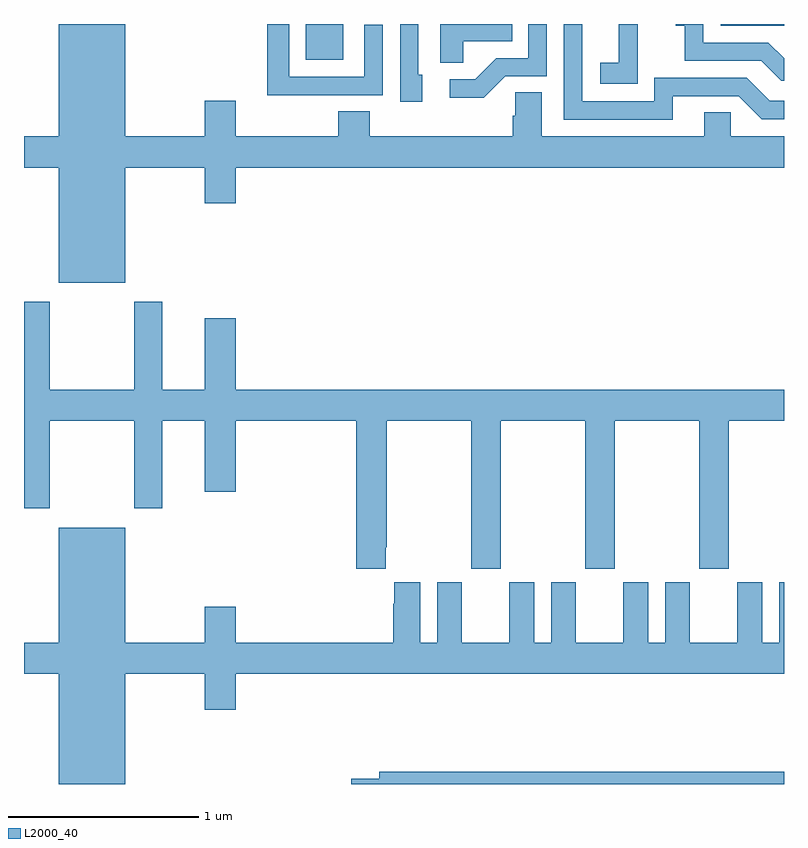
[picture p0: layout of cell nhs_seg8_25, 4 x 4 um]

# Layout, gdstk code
import gdstk
lib = gdstk.Library(unit=1e-6, precision=1e-09)
def R(c, l, rs):  # rectangles x0, y0, x1, y1
    for r in rs: c.add(gdstk.rectangle(r[:2], r[2:], *l))
def P(c, l, *ps):  # polygons
    for p in ps: c.add(gdstk.Polygon(p, *l))
L2000_40 = (2000, 40)

nhs_seg8_25 = lib.new_cell('nhs_seg8_25')
R(nhs_seg8_25, L2000_40, [(112.484,1139.711,112.681,1139.9), (114.666,1139.892,115,1139.9)])
P(nhs_seg8_25, L2000_40, [(113.532,1139.625),(113.751,1139.625),(113.751,1139.9),(113.655,1139.9),(113.655,1139.721),(113.486,1139.721),(113.375,1139.61),(113.241,1139.61),(113.241,1139.513),(113.419,1139.513)],
  [(114.231,1139.791),(114.23,1139.791),(114.23,1139.9),(114.131,1139.9),(114.131,1139.695),(114.033,1139.695),(114.033,1139.585),(114.231,1139.585)],
  [(115,1139.72),(114.918,1139.802),(114.576,1139.802),(114.576,1139.9),(114.429,1139.9),(114.429,1139.891),(114.478,1139.891),(114.478,1139.706),(114.881,1139.706),(114.986,1139.601),(115,1139.601)],
  [(112.571,1139.526),(112.887,1139.526),(112.887,1139.896),(112.791,1139.896),(112.791,1139.622),(112.395,1139.622),(112.395,1139.9),(112.279,1139.9),(112.279,1139.525),(112.571,1139.525)],
  [(111.532,1139.144),(111.95,1139.144),(111.95,1138.956),(112.114,1138.956),(112.114,1139.144),(115,1139.144),(115,1139.308),(114.72,1139.308),(114.72,1139.435),(114.581,1139.435),(114.581,1139.308),(113.725,1139.308),(113.725,1139.54),(113.586,1139.54),(113.586,1139.417),(113.573,1139.417),(113.573,1139.308),(112.82,1139.308),(112.82,1139.441),(112.655,1139.441),(112.655,1139.308),(112.114,1139.308),(112.114,1139.497),(111.95,1139.497),(111.95,1139.308),(111.532,1139.308),(111.532,1139.9),(111.182,1139.9),(111.182,1139.308),(111,1139.308),(111,1139.144),(111.182,1139.144),(111.182,1138.538),(111.532,1138.538)],
  [(114.415,1139.52),(114.762,1139.52),(114.882,1139.4),(115,1139.4),(115,1139.496),(114.924,1139.496),(114.804,1139.616),(114.318,1139.616),(114.318,1139.493),(113.937,1139.493),(113.937,1139.9),(113.841,1139.9),(113.841,1139.397),(114.415,1139.397)],
  [(113.095,1139.634),(113.076,1139.634),(113.076,1139.9),(112.98,1139.9),(112.98,1139.49),(113.095,1139.49)],
  [(113.313,1139.81),(113.57,1139.81),(113.57,1139.9),(113.192,1139.9),(113.192,1139.695),(113.313,1139.695)],
  [(112.903,1137.145),(112.908,1137.145),(112.908,1137.812),(113.353,1137.812),(113.353,1137.033),(113.508,1137.033),(113.508,1137.812),(113.953,1137.812),(113.953,1137.033),(114.108,1137.033),(114.108,1137.812),(114.553,1137.812),(114.553,1137.033),(114.708,1137.033),(114.708,1137.812),(115,1137.812),(115,1137.976),(112.114,1137.976),(112.114,1138.351),(111.95,1138.351),(111.95,1137.976),(111.727,1137.976),(111.727,1138.438),(111.58,1138.438),(111.58,1137.976),(111.135,1137.976),(111.135,1138.438),(111,1138.438),(111,1137.351),(111.135,1137.351),(111.135,1137.812),(111.58,1137.812),(111.58,1137.351),(111.727,1137.351),(111.727,1137.812),(111.95,1137.812),(111.95,1137.438),(112.114,1137.438),(112.114,1137.812),(112.748,1137.812),(112.748,1137.033),(112.903,1137.033)],
  [(111.532,1136.48),(111.95,1136.48),(111.95,1136.292),(112.114,1136.292),(112.114,1136.48),(115,1136.48),(115,1136.962),(114.974,1136.962),(114.974,1136.644),(114.886,1136.644),(114.886,1136.962),(114.755,1136.962),(114.755,1136.644),(114.505,1136.644),(114.505,1136.962),(114.374,1136.962),(114.374,1136.644),(114.286,1136.644),(114.286,1136.962),(114.155,1136.962),(114.155,1136.644),(113.905,1136.644),(113.905,1136.962),(113.774,1136.962),(113.774,1136.644),(113.686,1136.644),(113.686,1136.962),(113.555,1136.962),(113.555,1136.644),(113.305,1136.644),(113.305,1136.962),(113.174,1136.962),(113.174,1136.644),(113.086,1136.644),(113.086,1136.962),(112.949,1136.962),(112.949,1136.849),(112.943,1136.849),(112.943,1136.644),(112.114,1136.644),(112.114,1136.833),(111.95,1136.833),(111.95,1136.644),(111.532,1136.644),(111.532,1137.25),(111.182,1137.25),(111.182,1136.644),(111,1136.644),(111,1136.48),(111.182,1136.48),(111.182,1135.9),(111.532,1135.9)],
  [(115,1135.964),(112.871,1135.964),(112.871,1135.928),(112.722,1135.928),(112.722,1135.9),(115,1135.9)])

lib.write_gds('nhs_seg8_25.gds')
